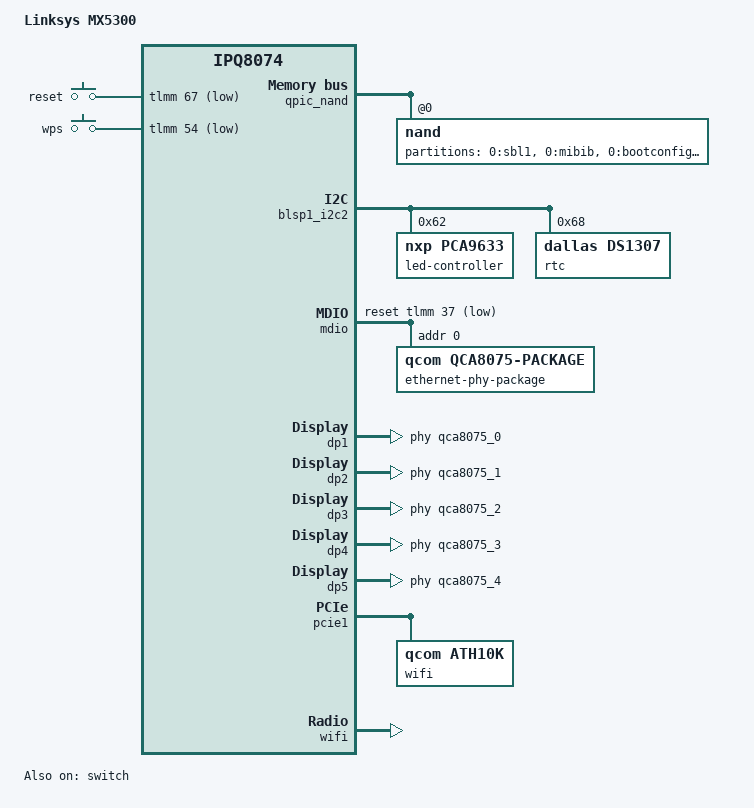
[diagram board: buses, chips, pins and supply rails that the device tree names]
// SPDX-License-Identifier: GPL-2.0-or-later OR MIT

/dts-v1/;

#include "ipq8074.dtsi"
#include "ipq8074-ess.dtsi"
#include "ipq8074-nss.dtsi"
#include "ipq8074-common.dtsi"
#include "ipq8074-hk-cpu.dtsi"

#include <dt-bindings/gpio/gpio.h>
#include <dt-bindings/input/input.h>
#include <dt-bindings/leds/common.h>

/ {
	model = "Linksys MX5300";
	compatible = "linksys,mx5300", "qcom,ipq8074";

	aliases {
		serial0 = &blsp1_uart5;

		led-boot = &led_system_blue;
		led-running = &led_system_blue;
		led-failsafe = &led_system_red;
		led-upgrade = &led_system_green;

		ethernet0 = &dp1;
		ethernet1 = &dp2;
		ethernet2 = &dp3;
		ethernet3 = &dp4;
		ethernet4 = &dp5;
	};

	chosen {
		stdout-path = "serial0:115200n8";
		bootargs-append = " root=/dev/ubiblock0_0";
	};

	keys {
		compatible = "gpio-keys";

		reset-button {
			label = "reset";
			gpios = <&tlmm 67 GPIO_ACTIVE_LOW>;
			linux,code = <KEY_RESTART>;
		};

		wps-button {
			label = "wps";
			gpios = <&tlmm 54 GPIO_ACTIVE_LOW>;
			linux,code = <KEY_WPS_BUTTON>;
		};
	};
};

&qpic_nand {
	status = "okay";

	partitions {
		status = "disabled";
	};

	nand@0 {
		reg = <0>;

		nand-ecc-strength = <4>;
		nand-ecc-step-size = <512>;
		nand-bus-width = <8>;

		partitions {
			compatible = "fixed-partitions";
			#address-cells = <1>;
			#size-cells = <1>;

			partition@0 {
				label = "0:sbl1";
				reg = <0x00000000 0x00100000>;
				read-only;
			};

			partition@100000 {
				label = "0:mibib";
				reg = <0x00100000 0x00100000>;
				read-only;
			};

			partition@200000 {
				label = "0:bootconfig";
				reg = <0x00200000 0x00080000>;
				read-only;
			};

			partition@280000 {
				label = "0:bootconfig1";
				reg = <0x00280000 0x00080000>;
				read-only;
			};

			partition@300000 {
				label = "0:qsee";
				reg = <0x00300000 0x00300000>;
				read-only;
			};

			partition@600000 {
				label = "0:qsee_1";
				reg = <0x00600000 0x00300000>;
				read-only;
			};

			partition@900000 {
				label = "0:devcfg";
				reg = <0x00900000 0x00080000>;
				read-only;
			};

			partition@980000 {
				label = "0:devcfg_1";
				reg = <0x00980000 0x00080000>;
				read-only;
			};

			partition@a00000 {
				label = "0:apdp";
				reg = <0x00a00000 0x00080000>;
				read-only;
			};

			partition@a80000 {
				label = "0:apdp_1";
				reg = <0x00a80000 0x00080000>;
				read-only;
			};

			partition@b00000 {
				label = "0:rpm";
				reg = <0x00b00000 0x00080000>;
				read-only;
			};

			partition@b80000 {
				label = "0:rpm_1";
				reg = <0x00b80000 0x00080000>;
				read-only;
			};

			partition@c00000 {
				label = "0:cdt";
				reg = <0x00c00000 0x00080000>;
				read-only;
			};

			partition@c80000 {
				label = "0:cdt_1";
				reg = <0x00c80000 0x00080000>;
				read-only;
			};

			partition@d00000 {
				label = "0:appsblenv";
				reg = <0x00d00000 0x00080000>;
			};

			partition@d80000 {
				label = "0:appsbl";
				reg = <0x00d80000 0x00100000>;
				read-only;
			};

			partition@e80000 {
				label = "0:appsbl_1";
				reg = <0x00e80000 0x00100000>;
				read-only;
			};

			partition@f80000 {
				label = "0:art";
				reg = <0x00f80000 0x00080000>;
				read-only;

				nvmem-layout {
					compatible = "fixed-layout";
					#address-cells = <1>;
					#size-cells = <1>;

					caldata_qca9984: caldata@33000 {
						reg = <0x33000 0x02f20>;
					};
				};
			};

			partition@1000000 {
				label = "u_env";
				reg = <0x01000000 0x00040000>;
			};

			partition@1040000 {
				label = "s_env";
				reg = <0x01040000 0x00020000>;
			};

			partition@1060000 {
				label = "devinfo";
				reg = <0x01060000 0x00020000>;
				read-only;
			};

			partition@1080000 {
				label = "kernel";
				reg = <0x01080000 0x09600000>;
			};

			partition@1680000 {
				label = "rootfs";
				reg = <0x01680000 0x09000000>;
			};

			partition@a680000 {
				label = "alt_kernel";
				reg = <0x0a680000 0x09600000>;
			};

			partition@ac80000 {
				label = "alt_rootfs";
				reg = <0x0ac80000 0x09000000>;
			};

			partition@13c80000 {
				label = "sysdiag";
				reg = <0x13c80000 0x00200000>;
				read-only;
			};

			partition@13e80000 {
				label = "0:ethphyfw";
				reg = <0x13e80000 0x00080000>;
				read-only;
			};

			partition@13f00000 {
				label = "syscfg";
				reg = <0x13f00000 0x0b800000>;
				read-only;
			};

			partition@1f700000 {
				label = "0:wififw";
				reg = <0x1f700000 0x00900000>;
				read-only;
			};
		};
	};
};

&blsp1_i2c2 {
	status = "okay";

	led-controller@62 {
		compatible = "nxp,pca9633";
		#address-cells = <1>;
		#size-cells = <0>;
		reg = <0x62>;
		nxp,hw-blink;

		led_system_red: system-red {
			reg = <0>;
			color = <LED_COLOR_ID_RED>;
			function = LED_FUNCTION_STATUS;
		};

		led_system_green: system-green {
			reg = <1>;
			color = <LED_COLOR_ID_GREEN>;
			function = LED_FUNCTION_STATUS;
		};

		led_system_blue: system-blue {
			reg = <2>;
			color = <LED_COLOR_ID_BLUE>;
			function = LED_FUNCTION_STATUS;
		};
	};

	rtc@68 {
		compatible = "dallas,ds1307";
		reg = <0x68>;
	};
};

&mdio {
	status = "okay";

	pinctrl-0 = <&mdio_pins>;
	pinctrl-names = "default";
	reset-gpios = <&tlmm 37 GPIO_ACTIVE_LOW>;

	ethernet-phy-package@0 {
		compatible = "qcom,qca8075-package";
		#address-cells = <1>;
		#size-cells = <0>;
		reg = <0>;

		qca8075_0: ethernet-phy@0 {
			compatible = "ethernet-phy-ieee802.3-c22";
			reg = <0>;
		};

		qca8075_1: ethernet-phy@1 {
			compatible = "ethernet-phy-ieee802.3-c22";
			reg = <1>;
		};

		qca8075_2: ethernet-phy@2 {
			compatible = "ethernet-phy-ieee802.3-c22";
			reg = <2>;
		};

		qca8075_3: ethernet-phy@3 {
			compatible = "ethernet-phy-ieee802.3-c22";
			reg = <3>;
		};

		qca8075_4: ethernet-phy@4 {
			compatible = "ethernet-phy-ieee802.3-c22";
			reg = <4>;
		};
	};
};

&switch {
	status = "okay";

	switch_lan_bmp = <(ESS_PORT1 | ESS_PORT2 | ESS_PORT3 | ESS_PORT4)>;
	switch_wan_bmp = <ESS_PORT5>;
	switch_mac_mode = <MAC_MODE_PSGMII>;

	qcom,port_phyinfo {
		port@1 {
			port_id = <1>;
			phy_address = <0>;
		};

		port@2 {
			port_id = <2>;
			phy_address = <1>;
		};

		port@3 {
			port_id = <3>;
			phy_address = <2>;
		};

		port@4 {
			port_id = <4>;
			phy_address = <3>;
		};

		port@5 {
			port_id = <5>;
			phy_address = <4>;
		};
	};
};

&edma {
	status = "okay";
};

&dp1 {
	status = "okay";
	phy-handle = <&qca8075_0>;
	label = "lan1";
};

&dp2 {
	status = "okay";
	phy-handle = <&qca8075_1>;
	label = "lan2";
};

&dp3 {
	status = "okay";
	phy-handle = <&qca8075_2>;
	label = "lan3";
};

&dp4 {
	status = "okay";
	phy-handle = <&qca8075_3>;
	label = "lan4";
};

&dp5 {
	status = "okay";
	phy-handle = <&qca8075_4>;
	label = "wan";
};

&pcie1 {
	status = "okay";
	perst-gpios = <&tlmm 58 GPIO_ACTIVE_LOW>;

	pcie@0 {
		wifi@0,0 {
			status = "okay";
			compatible = "qcom,ath10k";
			qcom,ath10k-fw-memory-mode = <1>;
			qcom,ath10k-calibration-variant = "Linksys-MX5300";
			reg = <0x00010000 0 0 0 0>;

			nvmem-cell-names = "pre-calibration";
			nvmem-cells = <&caldata_qca9984>;
		};
	};
};

&wifi {
	status = "okay";
	qcom,ath11k-fw-memory-mode = <1>;
	qcom,ath11k-calibration-variant = "Linksys-MX5300";
};
